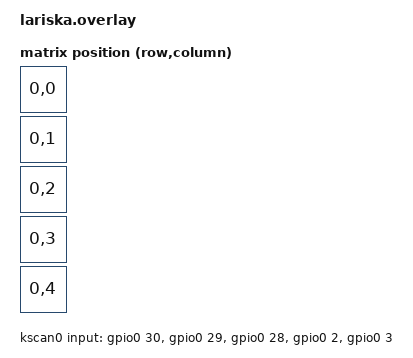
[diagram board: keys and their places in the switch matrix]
/*
 * Lariska 鼠标 —— ESB split peripheral 版本的 devicetree
 *
 * 与上游原版的差异（**鼠标自己的按键定义保持原样**）：
 *   * 5 个按键仍然是原来的 zmk,kscan-gpio-direct（按键位置 0~4 不变）；
 *   * 新增 esb_split：ESB 收发地址，必须与 dongle 的 config/corne.overlay 逐字节一致；
 *   * 新增 split_inputs 里的 mou0_split(reg=4)：指针事件经 ESB 上报给 dongle；
 *   * 原来指向 &mou0 的 input-listener 在 lariska.keymap 里禁用了（那是 central 角色的用法）。
 *
 * 关于按键位置：鼠标按键上报的是 key position 0~4。dongle 侧的 corne keymap
 * 把 0~4 专门留给鼠标按键，corne 自己的键位编号整体后移了 5 位（见
 * zmk-config 仓库的 config/corne.overlay 注释），所以这里什么都不用改。
 */

#include <dt-bindings/zmk/matrix_transform.h>
#include <zephyr/dt-bindings/input/input-event-codes.h>
// 报告率限速处理器的节点定义（原来在 lariska.keymap 里 include，挪到这里，
// 因为 ESB 版本下它挂在 &mou0_split 上，而 overlay 会比 keymap 先被处理）
#include <input/processors/report_rate_limit.dtsi>
#include "mouse_leds.dtsi"

/ {
    chosen {
        zmk,battery = &vbatt;
        zmk,kscan = &kscan0;
        zmk,matrix-transform = &default_transform;
		zmk,backlight = &backlight;
    }; 

    vbatt: vbatt {
        compatible = "zmk,battery-voltage-divider";
        io-channels = <&adc 7>;
        output-ohms = <400000>;
        full-ohms = <(1000000 + 400000)>;
    };

    default_transform: keymap_transform0 {
        compatible = "zmk,matrix-transform";
        columns = <6>;
        rows = <1>;

        map = <
            RC(0,0)
            RC(0,1)
            RC(0,2)
            RC(0,3)
            RC(0,4)
        >;
    };

    // 5 个鼠标按键：原样保留（键盘事件，位置 0~4）
    kscan0: kscan {
        compatible = "zmk,kscan-gpio-direct";
        wakeup-source;
        input-gpios
            = <&gpio0 30 (GPIO_ACTIVE_LOW | GPIO_PULL_UP)>
            , <&gpio0 29 (GPIO_ACTIVE_LOW | GPIO_PULL_UP)>
            , <&gpio0 28 (GPIO_ACTIVE_LOW | GPIO_PULL_UP)>
            , <&gpio0 2 (GPIO_ACTIVE_LOW | GPIO_PULL_UP)>
            , <&gpio0 3 (GPIO_ACTIVE_LOW | GPIO_PULL_UP)>
            ;
    };

    /*
     * ESB 收发地址：这些是示例地址，必须与 dongle 的
     * config/corne.overlay 里的值逐字节一致，否则收不到。
     */
    esb_split {
        compatible = "zmk,esb-split";
        base-addr-0 = <0xE7 0xE7 0xE7 0xE7>;
        base-addr-1 = <0xC2 0xC2 0xC2 0xC2>;
        addr-prefix = <0xE7 0xC2 0xC3 0xC4 0xC5 0xC6 0xC7 0xC8>;
    };

    /*
     * ESB 事件路由：指针走 input 通道（reg=4），
     * dongle 侧要有相同 reg 的 zmk,input-split 节点。
     * 按键不需要这里——它们走 key position（见文件头说明）。
     */
    split_inputs {
        #address-cells = <1>;
        #size-cells = <0>;

        mou0_split: mou0_split@4 {
            compatible = "zmk,input-split";
            reg = <4>;
        };
    };

    // encoder: encoder {
    //     compatible = "alps,ec11";
    //     a-gpios = <&gpio0 1 (GPIO_ACTIVE_HIGH)>;
    //     b-gpios = <&gpio0 0 (GPIO_ACTIVE_HIGH)>;
    //     steps = <48>;
    //     status = "okay";
    // };

    sensors: sensors {
        compatible = "zmk,keymap-sensors";
        sensors = <&encoder>;
        triggers-per-rotation = <24>;
    };

};

// 指针事件：peripheral 侧先用原来的限速处理器处理，再经 ESB 上报
&mou0_split {
    device = <&mou0>;
    input-processors = <&zip_report_rate_limit 1>;
};

&pinctrl {
	qdec_default: qdec_default {
		group1 {
			psels = <NRF_PSEL(QDEC_A, 0, 1)>,
			<NRF_PSEL(QDEC_B, 0, 0)>;
			// bias-pull-up;
		};
	};
	
	
	// need second set of pins defined if deep sleep is enabled
	qdec_sleep: qdec_sleep {
		group1 {
			psels = <NRF_PSEL(QDEC_A, 0, 1)>,
			<NRF_PSEL(QDEC_B, 0, 0)>;
			// bias-pull-up; // TODO: find out if this makes sense with low-power-enable
			low-power-enable;
		};
	};
};

// Set up the QDEC hardware based driver and give it the same label as the deleted node.
encoder: &qdec0 {
	status = "okay";
	led-pre = <0>;
	steps = <48>;
	pinctrl-0 = <&qdec_default>;
	pinctrl-1 = <&qdec_sleep>;
	pinctrl-names = "default", "sleep";
};

&pinctrl {
	spi2_default: spi2_default {
		group1 {
			psels = <NRF_PSEL(SPIM_SCK, 0, 6)>,
			<NRF_PSEL(SPIM_MOSI, 0, 5)>,
			<NRF_PSEL(SPIM_MISO, 0, 4)>;
		};
	};
	spi2_sleep: spi2_sleep {
		group1 {
			psels = <NRF_PSEL(SPIM_SCK, 0, 6)>,
			<NRF_PSEL(SPIM_MOSI, 0, 5)>,
			<NRF_PSEL(SPIM_MISO, 0, 4)>;
			low-power-enable;
		};
	};
};

&spi2 {
	compatible = "nordic,nrf-spim";
    status = "okay";
	pinctrl-0 = <&spi2_default>;
	pinctrl-1 = <&spi2_sleep>;
	pinctrl-names = "default", "sleep";
	cs-gpios = <&gpio0 27 GPIO_ACTIVE_LOW>;

	mou0: pd@0 {
		compatible = "pixart,paw3395";
	    status = "okay";
		label = "MOU0";
		reg = <0>;
		spi-max-frequency = <4000000>;

		// paw3395 driver parameters
		irq-gpios = <&gpio0 7 (GPIO_ACTIVE_LOW | GPIO_PULL_UP)>;
		// cpi-gpios = <&gpio1 15 (GPIO_ACTIVE_LOW | GPIO_PULL_UP)>;
		// cpi = <600 1200 2400 3200>;
		cpi = <1200>;                        // initial CPI (single value)
        // cpi-array = <600 1200 2400 3200>;  // optional multi-step CPI list
		// swap-xy; /* optional */
		invert-x; /* optional */
		// invert-y; /* optional */
		evt-type = <INPUT_EV_REL>;
		x-input-code = <INPUT_REL_X>;
		y-input-code = <INPUT_REL_Y>;
	};
};

// / {
//   mouse_input_listener {
//     compatible = "zmk,input-listener";
//     device = <&mou0>;
//   };
// };

// /{
// 	dpi_cycle: dpi_cycle {
// 		compatible = "zmk,behavior-sensor-attr-cycle";
// 		#binding-cells = <1>;
// 		values = < 400 800 1200 2400 3200 >;
// 		attr = <0>;
// 		sensor_device = <&mou0>;
// 		display-name = "DPI cycle";
//         load_delay = <200>;
//         save_delay = <1000>;
// 		persistant;
// 	};
// };
